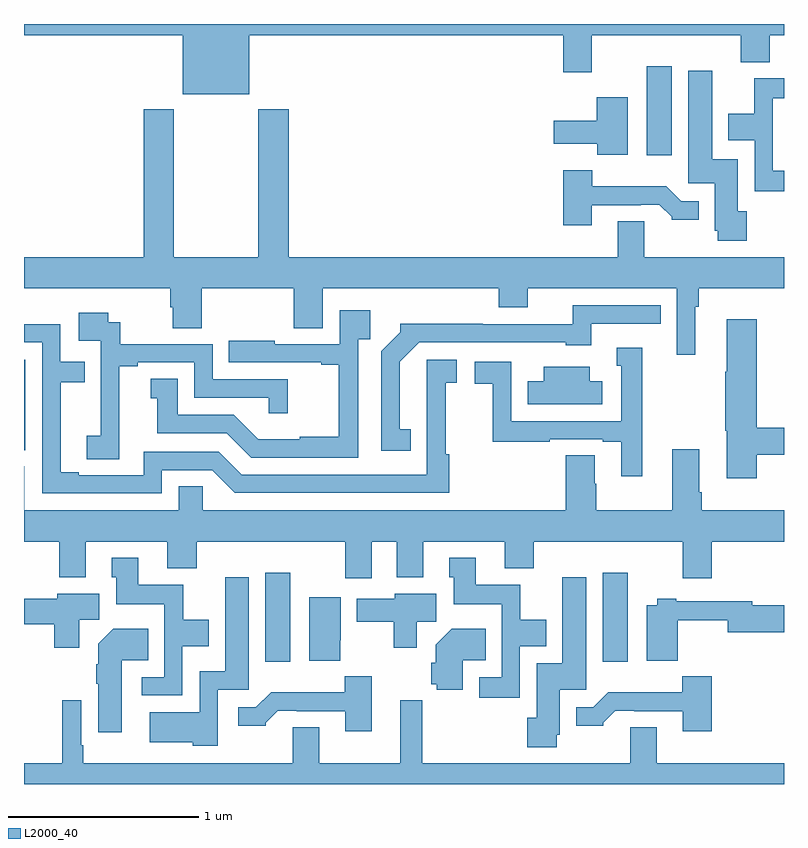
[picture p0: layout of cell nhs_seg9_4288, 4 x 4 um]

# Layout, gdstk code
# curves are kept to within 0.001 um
import gdstk
lib = gdstk.Library(unit=1e-6, precision=1e-09)
def R(c, l, rs):  # rectangles x0, y0, x1, y1
    for r in rs: c.add(gdstk.rectangle(r[:2], r[2:], *l))
def P(c, l, *ps):  # polygons
    for p in ps: c.add(gdstk.Polygon(p, *l))
L2000_40 = (2000, 40)

nhs_seg9_4288 = lib.new_cell('nhs_seg9_4288')
R(nhs_seg9_4288, L2000_40, [(358.271,1173.144,358.402,1173.613), (360.047,1173.144,360.178,1173.613), (357,1174.257,357.006,1174.734), (360.278,1175.808,360.409,1176.277)])
P(nhs_seg9_4288, L2000_40, [(358.186,1176.44),(359.837,1176.44),(359.837,1176.246),(359.989,1176.246),(359.989,1176.44),(360.773,1176.44),(360.773,1176.299),(360.925,1176.299),(360.925,1176.44),(361,1176.44),(361,1176.5),(357,1176.5),(357,1176.44),(357.836,1176.44),(357.836,1176.131),(358.186,1176.131)],
  [(360.804,1175.514),(360.757,1175.514),(360.757,1175.788),(360.622,1175.788),(360.622,1176.253),(360.497,1176.253),(360.497,1175.661),(360.635,1175.661),(360.635,1175.412),(360.652,1175.412),(360.652,1175.358),(360.804,1175.358)],
  [(361,1175.727),(360.942,1175.727),(360.942,1176.11),(361,1176.11),(361,1176.214),(360.844,1176.214),(360.844,1176.028),(360.707,1176.028),(360.707,1175.888),(360.846,1175.888),(360.846,1175.619),(361,1175.619)],
  [(360.178,1176.115),(360.014,1176.115),(360.014,1175.992),(359.787,1175.992),(359.787,1175.87),(360.016,1175.87),(360.016,1175.813),(360.178,1175.813)],
  [(360.532,1175.012),(360.551,1175.012),(360.551,1175.108),(361,1175.108),(361,1175.272),(360.265,1175.272),(360.265,1175.462),(360.125,1175.462),(360.125,1175.272),(358.394,1175.272),(358.394,1176.052),(358.234,1176.052),(358.234,1175.272),(357.789,1175.272),(357.789,1176.052),(357.629,1176.052),(357.629,1175.272),(357,1175.272),(357,1175.108),(357.77,1175.108),(357.77,1175.01),(357.782,1175.01),(357.782,1174.9),(357.935,1174.9),(357.935,1175.108),(358.421,1175.108),(358.421,1174.9),(358.573,1174.9),(358.573,1175.108),(359.498,1175.108),(359.498,1175.009),(359.65,1175.009),(359.65,1175.108),(360.435,1175.108),(360.435,1174.758),(360.532,1174.758)],
  [(359.989,1175.547),(360.245,1175.547),(360.245,1175.55),(360.344,1175.55),(360.408,1175.486),(360.408,1175.471),(360.55,1175.471),(360.55,1175.568),(360.459,1175.568),(360.381,1175.647),(359.992,1175.647),(359.992,1175.731),(359.837,1175.731),(359.837,1175.442),(359.989,1175.442)],
  [(359.036,1174.367),(358.978,1174.367),(358.978,1174.723),(359.079,1174.824),(359.85,1174.824),(359.85,1174.808),(359.986,1174.808),(359.986,1174.923),(360.35,1174.923),(360.35,1175.019),(359.887,1175.019),(359.887,1174.92),(359.414,1174.92),(359.414,1174.922),(358.98,1174.922),(358.98,1174.877),(358.881,1174.778),(358.881,1174.254),(359.036,1174.254)],
  [(358.758,1174.841),(358.823,1174.841),(358.823,1174.993),(358.662,1174.993),(358.662,1174.815),(358.321,1174.815),(358.321,1174.834),(358.078,1174.834),(358.078,1174.719),(358.565,1174.719),(358.565,1174.707),(358.657,1174.707),(358.657,1174.327),(358.451,1174.327),(358.451,1174.315),(358.232,1174.315),(358.104,1174.443),(357.808,1174.443),(357.808,1174.634),(357.668,1174.634),(357.668,1174.531),(357.701,1174.531),(357.701,1174.347),(358.068,1174.347),(358.197,1174.218),(358.758,1174.218)],
  [(357.5,1174.321),(357.502,1174.321),(357.502,1174.699),(357.598,1174.699),(357.598,1174.719),(357.897,1174.719),(357.897,1174.533),(358.287,1174.533),(358.287,1174.452),(358.388,1174.452),(358.388,1174.629),(357.993,1174.629),(357.993,1174.815),(357.506,1174.815),(357.506,1174.929),(357.444,1174.929),(357.444,1174.981),(357.288,1174.981),(357.288,1174.833),(357.405,1174.833),(357.405,1174.529),(357.404,1174.529),(357.404,1174.332),(357.33,1174.332),(357.33,1174.21),(357.5,1174.21)],
  [(360.857,1174.234),(361,1174.234),(361,1174.376),(360.857,1174.376),(360.857,1174.945),(360.698,1174.945),(360.698,1174.67),(360.691,1174.67),(360.691,1174.359),(360.698,1174.359),(360.698,1174.11),(360.857,1174.11)],
  [(357.726,1174.152),(357.99,1174.152),(358.11,1174.032),(359.237,1174.032),(359.237,1174.235),(359.22,1174.235),(359.22,1174.611),(359.278,1174.611),(359.278,1174.732),(359.12,1174.732),(359.121,1174.128),(358.146,1174.128),(358.026,1174.248),(357.63,1174.248),(357.63,1174.125),(357.289,1174.125),(357.289,1174.14),(357.193,1174.14),(357.193,1174.614),(357.32,1174.614),(357.32,1174.722),(357.192,1174.722),(357.192,1174.92),(357,1174.92),(357,1174.824),(357.096,1174.824),(357.096,1174.029),(357.726,1174.029)],
  [(360.253,1174.795),(360.119,1174.795),(360.119,1174.701),(360.144,1174.701),(360.144,1174.41),(359.565,1174.41),(359.565,1174.722),(359.373,1174.722),(359.373,1174.606),(359.467,1174.606),(359.467,1174.302),(359.768,1174.302),(359.768,1174.314),(360.047,1174.314),(360.047,1174.302),(360.143,1174.302),(360.143,1174.119),(360.253,1174.119)],
  [(360.043,1174.621),(359.977,1174.621),(359.977,1174.696),(359.735,1174.696),(359.735,1174.621),(359.65,1174.621),(359.65,1174.499),(360.043,1174.499)],
  [(358.831,1173.776),(358.961,1173.776),(358.961,1173.587),(359.101,1173.587),(359.101,1173.776),(359.531,1173.776),(359.531,1173.635),(359.684,1173.635),(359.684,1173.776),(360.467,1173.776),(360.467,1173.582),(360.62,1173.582),(360.62,1173.776),(361,1173.776),(361,1173.94),(360.566,1173.94),(360.566,1174.036),(360.553,1174.036),(360.553,1174.261),(360.413,1174.261),(360.413,1173.94),(360.012,1173.94),(360.012,1174.079),(360.004,1174.079),(360.004,1174.229),(359.852,1174.229),(359.852,1173.94),(357.942,1173.94),(357.942,1174.067),(357.815,1174.067),(357.815,1173.94),(357.001,1173.94),(357.001,1174.172),(357,1174.172),(357,1173.776),(357.185,1173.776),(357.185,1173.587),(357.325,1173.587),(357.325,1173.776),(357.755,1173.776),(357.755,1173.635),(357.908,1173.635),(357.908,1173.776),(358.691,1173.776),(358.691,1173.582),(358.831,1173.582)],
  [(357.834,1173.224),(357.973,1173.224),(357.973,1173.364),(357.837,1173.364),(357.837,1173.55),(357.601,1173.55),(357.601,1173.691),(357.461,1173.691),(357.461,1173.588),(357.485,1173.588),(357.485,1173.446),(357.738,1173.446),(357.738,1173.063),(357.621,1173.063),(357.621,1172.967),(357.834,1172.967)],
  [(359.61,1173.224),(359.749,1173.224),(359.749,1173.364),(359.613,1173.364),(359.613,1173.55),(359.377,1173.55),(359.377,1173.691),(359.237,1173.691),(359.237,1173.588),(359.261,1173.588),(359.261,1173.446),(359.514,1173.446),(359.514,1173.063),(359.397,1173.063),(359.397,1172.955),(359.61,1172.955)],
  [(359.805,1172.76),(359.821,1172.76),(359.821,1172.997),(359.959,1172.997),(359.959,1173.589),(359.834,1173.589),(359.834,1173.136),(359.699,1173.136),(359.699,1172.85),(359.648,1172.85),(359.648,1172.694),(359.805,1172.694)],
  [(358.02,1172.997),(358.183,1172.997),(358.183,1173.589),(358.058,1173.589),(358.058,1173.094),(357.924,1173.094),(357.924,1172.878),(357.663,1172.878),(357.663,1172.72),(357.888,1172.72),(357.888,1172.702),(358.02,1172.702)],
  [(357.292,1173.364),(357.397,1173.364),(357.397,1173.502),(357.174,1173.502),(357.174,1173.475),(357,1173.475),(357,1173.341),(357.158,1173.341),(357.158,1173.216),(357.292,1173.216)],
  [(359.068,1173.355),(359.17,1173.355),(359.17,1173.502),(358.95,1173.502),(358.95,1173.475),(358.751,1173.475),(358.751,1173.353),(358.946,1173.353),(358.946,1173.216),(359.068,1173.216)],
  [(358.664,1173.256),(358.666,1173.256),(358.666,1173.484),(358.502,1173.484),(358.502,1173.149),(358.664,1173.149)],
  [(360.44,1173.361),(360.704,1173.361),(360.704,1173.299),(361,1173.299),(361,1173.441),(360.832,1173.441),(360.832,1173.462),(360.433,1173.462),(360.433,1173.475),(360.333,1173.475),(360.333,1173.442),(360.278,1173.442),(360.278,1173.149),(360.44,1173.149)],
  [(359.308,1173.152),(359.429,1173.152),(359.429,1173.316),(359.252,1173.316),(359.168,1173.232),(359.168,1173.138),(359.143,1173.138),(359.143,1173.024),(359.172,1173.024),(359.172,1172.995),(359.308,1172.995)],
  [(357.514,1173.152),(357.653,1173.152),(357.653,1173.316),(357.47,1173.316),(357.392,1173.238),(357.392,1173.131),(357.38,1173.131),(357.38,1173.028),(357.392,1173.028),(357.392,1172.772),(357.514,1172.772)],
  [(358.831,1173.067),(358.689,1173.067),(358.689,1172.983),(358.3,1172.983),(358.221,1172.904),(358.128,1172.904),(358.128,1172.807),(358.272,1172.807),(358.272,1172.822),(358.336,1172.886),(358.435,1172.886),(358.435,1172.883),(358.691,1172.883),(358.691,1172.778),(358.831,1172.778)],
  [(360.62,1173.067),(360.465,1173.067),(360.465,1172.983),(360.076,1172.983),(359.997,1172.904),(359.906,1172.904),(359.906,1172.807),(360.048,1172.807),(360.048,1172.822),(360.112,1172.886),(360.211,1172.886),(360.211,1172.883),(360.467,1172.883),(360.467,1172.778),(360.62,1172.778)],
  [(361,1172.608),(360.331,1172.608),(360.331,1172.798),(360.191,1172.798),(360.191,1172.608),(359.096,1172.608),(359.096,1172.941),(358.979,1172.941),(358.979,1172.608),(358.555,1172.608),(358.555,1172.798),(358.415,1172.798),(358.415,1172.608),(357.313,1172.608),(357.313,1172.704),(357.3,1172.704),(357.3,1172.941),(357.202,1172.941),(357.202,1172.608),(357,1172.608),(357,1172.5),(361,1172.5)])

lib.write_gds('nhs_seg9_4288.gds')
